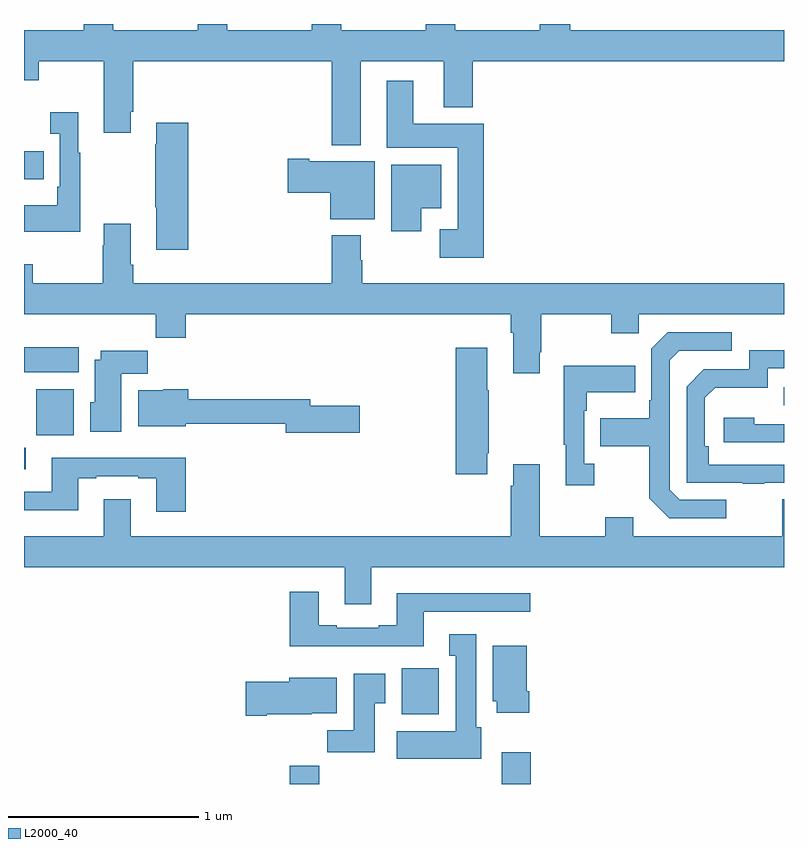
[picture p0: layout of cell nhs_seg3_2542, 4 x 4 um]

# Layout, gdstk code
import gdstk
lib = gdstk.Library(unit=1e-6, precision=1e-09)
def R(c, l, rs):  # rectangles x0, y0, x1, y1
    for r in rs: c.add(gdstk.rectangle(r[:2], r[2:], *l))
def P(c, l, *ps):  # polygons
    for p in ps: c.add(gdstk.Polygon(p, *l))
L2000_40 = (2000, 40)

nhs_seg3_2542 = lib.new_cell('nhs_seg3_2542')
R(nhs_seg3_2542, L2000_40, [(242.399,742.4,242.555,742.496), (243.515,742.4,243.668,742.567), (242.987,742.766,243.184,743.008), (241,744.057,241.009,744.17), (241.064,744.236,241.261,744.478), (244.999,744.393,245,744.489), (241,744.566,241.288,744.7), (241,745.583,241.103,745.731)])
P(nhs_seg3_2542, L2000_40, [(242.773,746.204),(243.209,746.204),(243.209,745.961),(243.362,745.961),(243.362,746.204),(245,746.204),(245,746.368),(243.875,746.368),(243.875,746.4),(243.715,746.4),(243.715,746.368),(243.27,746.368),(243.27,746.4),(243.115,746.4),(243.115,746.368),(242.67,746.368),(242.67,746.4),(242.515,746.4),(242.515,746.368),(242.07,746.368),(242.07,746.4),(241.915,746.4),(241.915,746.368),(241.47,746.368),(241.47,746.4),(241.315,746.4),(241.315,746.368),(241,746.368),(241,746.105),(241.077,746.105),(241.077,746.204),(241.421,746.204),(241.421,745.827),(241.561,745.827),(241.561,745.939),(241.574,745.939),(241.574,746.204),(242.621,746.204),(242.621,745.763),(242.773,745.763)],
  [(243.419,745.876),(243.049,745.876),(243.049,746.101),(242.909,746.101),(242.909,745.748),(243.284,745.748),(243.284,745.321),(243.189,745.321),(243.189,745.169),(243.419,745.169)],
  [(241.297,745.723),(241.285,745.723),(241.285,745.936),(241.137,745.936),(241.137,745.823),(241.188,745.823),(241.188,745.543),(241.176,745.543),(241.176,745.447),(241,745.447),(241,745.307),(241.297,745.307)],
  [(241.865,745.879),(241.697,745.879),(241.697,745.766),(241.69,745.766),(241.69,745.435),(241.697,745.435),(241.697,745.212),(241.865,745.212)],
  [(242.845,745.678),(242.5,745.678),(242.5,745.691),(242.388,745.691),(242.388,745.513),(242.612,745.513),(242.612,745.373),(242.845,745.373)],
  [(243.091,745.43),(243.196,745.43),(243.196,745.66),(242.933,745.66),(242.933,745.308),(243.091,745.308)],
  [(243.715,744.673),(243.723,744.673),(243.723,744.872),(244.09,744.872),(244.09,744.773),(244.236,744.773),(244.236,744.872),(245,744.872),(245,745.036),(242.781,745.036),(242.781,745.157),(242.773,745.157),(242.773,745.288),(242.621,745.288),(242.621,745.036),(241.574,745.036),(241.574,745.132),(241.561,745.132),(241.561,745.348),(241.421,745.348),(241.421,745.235),(241.414,745.235),(241.414,745.036),(241.047,745.036),(241.047,745.135),(241,745.135),(241,744.872),(241.693,744.872),(241.693,744.748),(241.85,744.748),(241.85,744.872),(243.563,744.872),(243.563,744.776),(243.575,744.776),(243.575,744.561),(243.715,744.561)],
  [(244.696,743.895),(244.452,743.895),(244.398,743.949),(244.398,744.63),(244.449,744.681),(244.726,744.681),(244.726,744.777),(244.389,744.777),(244.302,744.69),(244.302,744.421),(244.29,744.421),(244.29,744.325),(244.033,744.325),(244.033,744.178),(244.29,744.178),(244.29,743.905),(244.395,743.799),(244.696,743.799)],
  [(243.439,744.142),(243.447,744.142),(243.447,744.473),(243.439,744.473),(243.439,744.697),(243.272,744.697),(243.272,744.03),(243.439,744.03)],
  [(244.895,743.985),(245,743.985),(245,744.081),(244.604,744.081),(244.604,744.178),(244.584,744.178),(244.584,744.432),(244.637,744.485),(244.914,744.485),(244.914,744.588),(245,744.588),(245,744.684),(244.818,744.684),(244.818,744.582),(244.578,744.582),(244.488,744.492),(244.488,743.985),(244.783,743.985),(244.783,743.98),(244.895,743.98)],
  [(241.513,744.56),(241.652,744.56),(241.652,744.679),(241.403,744.679),(241.403,744.634),(241.373,744.634),(241.373,744.408),(241.349,744.408),(241.349,744.254),(241.513,744.254)],
  [(244,744.086),(243.948,744.086),(243.948,744.365),(243.961,744.365),(243.961,744.461),(244.217,744.461),(244.217,744.601),(243.84,744.601),(243.84,744.185),(243.851,744.185),(243.851,743.973),(244,743.973)],
  [(242.767,744.39),(242.506,744.39),(242.506,744.424),(241.865,744.424),(241.865,744.478),(241.734,744.478),(241.734,744.472),(241.601,744.472),(241.601,744.284),(241.852,744.284),(241.852,744.295),(242.378,744.295),(242.378,744.248),(242.767,744.248)],
  [(245,744.294),(244.844,744.294),(244.844,744.328),(244.683,744.328),(244.683,744.198),(245,744.198)],
  [(241.85,744.118),(241.145,744.118),(241.145,743.937),(241,743.937),(241,743.84),(241.285,743.84),(241.285,744.009),(241.381,744.009),(241.381,744.021),(241.601,744.021),(241.601,744.009),(241.697,744.009),(241.697,743.832),(241.85,743.832)],
  [(241.561,743.899),(241.421,743.899),(241.421,743.704),(241,743.704),(241,743.54),(242.687,743.54),(242.687,743.346),(242.827,743.346),(242.827,743.54),(245,743.54),(245,743.899),(244.991,743.899),(244.991,743.704),(244.207,743.704),(244.207,743.803),(244.06,743.803),(244.06,743.704),(243.715,743.704),(243.715,744.082),(243.575,744.082),(243.575,743.969),(243.563,743.969),(243.563,743.704),(241.561,743.704)],
  [(243.103,743.307),(243.664,743.307),(243.664,743.404),(242.963,743.404),(242.963,743.236),(242.867,743.236),(242.867,743.223),(242.647,743.223),(242.647,743.236),(242.551,743.236),(242.551,743.413),(242.399,743.413),(242.399,743.126),(243.103,743.126)],
  [(243.406,742.698),(243.379,742.698),(243.379,743.188),(243.239,743.188),(243.239,743.075),(243.272,743.075),(243.272,742.678),(242.963,742.678),(242.963,742.532),(243.406,742.532)],
  [(243.659,742.888),(243.646,742.888),(243.646,743.128),(243.467,743.128),(243.467,742.836),(243.488,742.836),(243.488,742.776),(243.659,742.776)],
  [(242.845,742.825),(242.902,742.825),(242.902,742.981),(242.735,742.981),(242.735,742.684),(242.596,742.684),(242.596,742.566),(242.845,742.566)],
  [(242.278,742.766),(242.514,742.766),(242.514,742.772),(242.647,742.772),(242.647,742.96),(242.396,742.96),(242.396,742.937),(242.166,742.937),(242.166,742.759),(242.278,742.759)])

lib.write_gds('nhs_seg3_2542.gds')
